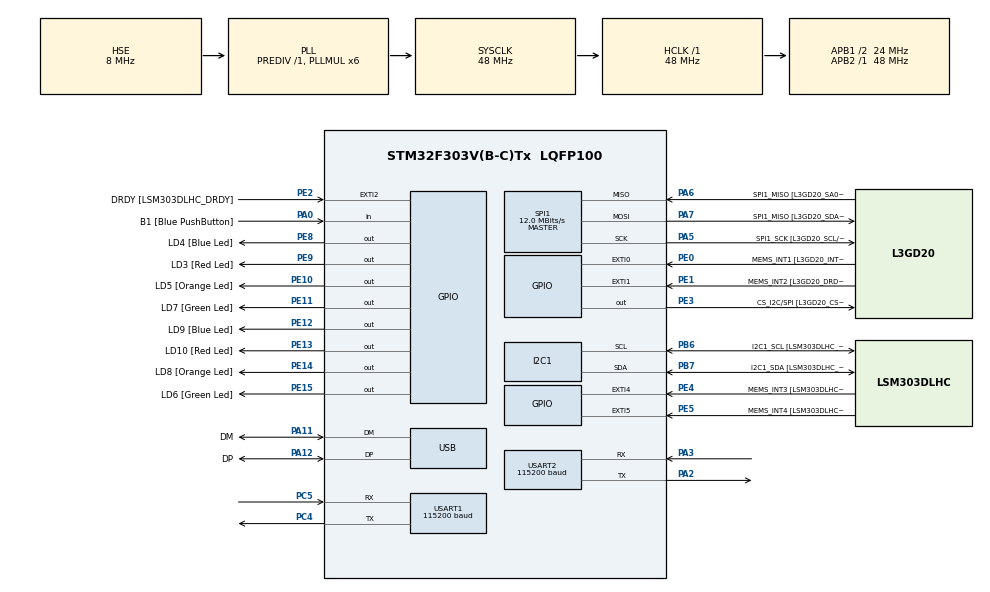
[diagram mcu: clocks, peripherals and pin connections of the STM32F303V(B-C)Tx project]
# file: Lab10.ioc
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I2C1.Timing=0x2000090E
I2C1.Timing-I2C=0x2000090E
Mcu.Family=STM32F3
Mcu.Name=STM32F303V(B-C)Tx
Mcu.Package=LQFP100
NVIC.PriorityGroup=NVIC_PRIORITYGROUP_0
PA0.GPIO_Label=B1 [Blue PushButton]
PA0.Signal=GPIO_Input
PA11.GPIO_Label=DM
PA11.Mode=Device
PA11.Signal=USB_DM
PA12.GPIO_Label=DP
PA12.Mode=Device
PA12.Signal=USB_DP
PA13.GPIO_Label=SWDIO
PA13.Mode=Serial_Wire
PA13.Signal=SYS_JTMS-SWDIO
PA14.GPIO_Label=SWCLK
PA14.Mode=Serial_Wire
PA14.Signal=SYS_JTCK-SWCLK
PA2.Mode=Asynchronous
PA2.Signal=USART2_TX
PA3.Mode=Asynchronous
PA3.Signal=USART2_RX
PA5.GPIO_Label=SPI1_SCK [L3GD20_SCL/SPC]
PA5.Mode=Full_Duplex_Master
PA5.Signal=SPI1_SCK
PA6.GPIO_Label=SPI1_MISO [L3GD20_SA0/SDO]
PA6.Mode=Full_Duplex_Master
PA6.Signal=SPI1_MISO
PA7.GPIO_Label=SPI1_MISO [L3GD20_SDA/SDI/SDO]
PA7.Mode=Full_Duplex_Master
PA7.Signal=SPI1_MOSI
PB3.GPIO_Label=SWO
PB3.Signal=SYS_JTDO-TRACESWO
PB6.GPIO_Label=I2C1_SCL [LSM303DLHC_SCL]
PB6.GPIO_Pu=GPIO_PULLUP
PB6.Mode=I2C
PB6.Signal=I2C1_SCL
PB7.GPIO_Label=I2C1_SDA [LSM303DLHC_SDA]
PB7.GPIO_Pu=GPIO_PULLUP
PB7.Mode=I2C
PB7.Signal=I2C1_SDA
PC14-OSC32_IN.GPIO_Label=OSC32_IN
PC14-OSC32_IN.Signal=RCC_OSC32_IN
PC15-OSC32_OUT.GPIO_Label=OSC32_OUT
PC15-OSC32_OUT.Signal=RCC_OSC32_OUT
PC4.Mode=Asynchronous
PC4.Signal=USART1_TX
PC5.Mode=Asynchronous
PC5.Signal=USART1_RX
PE0.GPIO_Label=MEMS_INT1 [L3GD20_INT1]
PE0.GPIO_ModeDefaultEXTI=GPIO_MODE_EVT_RISING
PE0.Signal=GPXTI0
PE1.GPIO_Label=MEMS_INT2 [L3GD20_DRDY/INT2]
PE1.GPIO_ModeDefaultEXTI=GPIO_MODE_EVT_RISING
PE1.Signal=GPXTI1
PE10.GPIO_Label=LD5 [Orange Led]
PE10.Signal=GPIO_Output
PE11.GPIO_Label=LD7 [Green Led]
PE11.Signal=GPIO_Output
PE12.GPIO_Label=LD9 [Blue Led]
PE12.Signal=GPIO_Output
PE13.GPIO_Label=LD10 [Red Led]
PE13.Signal=GPIO_Output
PE14.GPIO_Label=LD8 [Orange Led]
PE14.Signal=GPIO_Output
PE15.GPIO_Label=LD6 [Green Led]
PE15.Signal=GPIO_Output
PE2.GPIO_Label=DRDY [LSM303DLHC_DRDY]
PE2.GPIO_ModeDefaultEXTI=GPIO_MODE_EVT_RISING
PE2.Signal=GPXTI2
PE3.GPIO_Label=CS_I2C/SPI [L3GD20_CS_I2C/SPI]
PE3.Signal=GPIO_Output
PE4.GPIO_Label=MEMS_INT3 [LSM303DLHC_INT1]
PE4.GPIO_ModeDefaultEXTI=GPIO_MODE_EVT_RISING
PE4.Signal=GPXTI4
PE5.GPIO_Label=MEMS_INT4 [LSM303DLHC_INT2]
PE5.GPIO_ModeDefaultEXTI=GPIO_MODE_EVT_RISING
PE5.Signal=GPXTI5
PE8.GPIO_Label=LD4 [Blue Led]
PE8.Signal=GPIO_Output
PE9.GPIO_Label=LD3 [Red Led]
PE9.Signal=GPIO_Output
PF0-OSC_IN.GPIO_Label=OSC_IN
PF0-OSC_IN.Mode=HSE-External-Clock-Source
PF0-OSC_IN.Signal=RCC_OSC_IN
PF1-OSC_OUT.GPIO_Label=OSC_OUT
PF1-OSC_OUT.Signal=RCC_OSC_OUT
ProjectManager.HeapSize=0x200
ProjectManager.StackSize=0x400
ProjectManager.TargetToolchain=CMake
RCC.AHBFreq_Value=48000000
RCC.APB1CLKDivider=RCC_HCLK_DIV2
RCC.APB1Freq_Value=24000000
RCC.APB1TimFreq_Value=48000000
RCC.APB2Freq_Value=48000000
RCC.APB2TimFreq_Value=48000000
RCC.CortexFreq_Value=48000000
RCC.HCLKFreq_Value=48000000
RCC.HSE_VALUE=8000000
RCC.HSI_VALUE=8000000
RCC.LSE_VALUE=32768
RCC.PLLMUL=RCC_PLL_MUL6
RCC.SYSCLKFreq_VALUE=48000000
RCC.SYSCLKSourceVirtual=RCC_SYSCLKSOURCE_PLLCLK
RCC.USBFreq_Value=48000000
SPI1.BaudRatePrescaler=SPI_BAUDRATEPRESCALER_4
SPI1.BaudRatePrescaler-Full_Duplex_Master=SPI_BAUDRATEPRESCALER_2
SPI1.CalculateBaudRate=12.0 MBits/s
SPI1.CalculateBaudRate-Full_Duplex_Master=24.0 MBits/s
SPI1.Direction=SPI_DIRECTION_2LINES
SPI1.Mode=SPI_MODE_MASTER
SPI1.Mode-Full_Duplex_Master=SPI_MODE_MASTER
SPI1.VirtualType=VM_MASTER
USART1.BaudRate=115200
USART1.VirtualMode-Asynchronous=VM_ASYNC
USART2.BaudRate=115200
USART2.VirtualMode-Asynchronous=VM_ASYNC
board=STM32F3DISCOVERY

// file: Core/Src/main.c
/* USER CODE BEGIN Header */
/**
  ******************************************************************************
  * @file           : main.c
  * @brief          : Main program body
  ******************************************************************************
  * @attention
  *
  * Copyright (c) 2025 STMicroelectronics.
  * All rights reserved.
  *
  * This software is licensed under terms that can be found in the LICENSE file
  * in the root directory of this software component.
  * If no LICENSE file comes with this software, it is provided AS-IS.
  *
  ******************************************************************************
  */
/* USER CODE END Header */
#include "main.h"
#include "stdlib.h"

/* USER CODE BEGIN Includes */
#include "heap_driver.h"
#include <string.h>
#include <stdio.h>
/* USER CODE END Includes */

I2C_HandleTypeDef hi2c1;

SPI_HandleTypeDef hspi1;

UART_HandleTypeDef huart1;
UART_HandleTypeDef huart2;

PCD_HandleTypeDef hpcd_USB_FS;

void SystemClock_Config(void);
static void MX_GPIO_Init(void);
static void MX_I2C1_Init(void);
static void MX_SPI1_Init(void);
static void MX_USART2_UART_Init(void);
static void MX_USB_PCD_Init(void);
static void MX_USART1_UART_Init(void);

/* USER CODE BEGIN 0 */
void print_uart(const char* msg) {
  HAL_UART_Transmit(&huart2, (uint8_t*)msg, strlen(msg), HAL_MAX_DELAY);
}
/* USER CODE END 0 */

int main(void)
{

  /* MCU Configuration--------------------------------------------------------*/

  /* Reset of all peripherals, Initializes the Flash interface and the Systick. */
  HAL_Init();

  /* Configure the system clock */
  SystemClock_Config();

  /* Initialize all configured peripherals */
  MX_GPIO_Init();
  MX_I2C1_Init();
  MX_SPI1_Init();
  MX_USART2_UART_Init();
  MX_USB_PCD_Init();
  MX_USART1_UART_Init();
  /* USER CODE BEGIN 2 */

  // Task 1
  int n = 10;
  char uart_buf[100];

  int *malloc_array = (int *)malloc(n * sizeof(int));

  if (malloc_array != NULL) {
      HAL_UART_Transmit(&huart2, (uint8_t*)"\r\nmalloc allocation successful.\r\n", 34, 100);

      for (int i = 0; i < n; i++) {
          malloc_array[i] = i * 2;
      }
  } else {
      HAL_UART_Transmit(&huart2, (uint8_t*)"malloc allocation failed!\r\n", 27, 100);
  }

  int *calloc_array = (int *)calloc(n, sizeof(int));

  if (calloc_array != NULL) {
      HAL_UART_Transmit(&huart2, (uint8_t*)"calloc allocation successful.\r\n", 31, 100);

      HAL_UART_Transmit(&huart2, (uint8_t*)"Verifying calloc is zero-initialized:\r\n", 39, 100);
      for (int i = 0; i < n; i++) {
          sprintf(uart_buf, "calloc[%d] = %d\r\n", i, calloc_array[i]);
          HAL_UART_Transmit(&huart2, (uint8_t*)uart_buf, strlen(uart_buf), 100);
      }

      for (int i = 0; i < n; i++) {
          calloc_array[i] = i + 1;
      }
  } else {
      HAL_UART_Transmit(&huart2, (uint8_t*)"calloc allocation failed!\r\n", 27, 100);
  }

  HAL_UART_Transmit(&huart2, (uint8_t*)"\r\nFinal Array Contents:\r\n", 25, 100);
  for (int i = 0; i < n; i++) {
      sprintf(uart_buf, "Index %d: malloc=%d, calloc=%d\r\n", i, malloc_array[i], calloc_array[i]);
      HAL_UART_Transmit(&huart2, (uint8_t*)uart_buf, strlen(uart_buf), 100);
  }

  free(malloc_array);
  malloc_array = NULL;

  free(calloc_array);
  calloc_array = NULL;

  HAL_UART_Transmit(&huart2, (uint8_t*)"\r\nMemory successfully freed and pointers cleared.\r\n", 51, 100);

  // Task 2
  // Print a message over UART to indicate the start of the test.
  print_uart("=== Custom Heap Driver (Direct SRAM) ===\r\n");

  // Initialize the custom heap allocator.
  // This function sets up internal memory structures (e.g., the block_map array)
  // so that all heap memory is marked as free.
  // It MUST be called before using heap_alloc or heap_free.
  heap_init();

  // Allocate 32 bytes from the heap.
  // heap_alloc returns a pointer to a memory region in SRAM that is at least 32 bytes long.
  // We cast the void* return type to char* so we can use string functions like strcpy.
  char* block1 = (char*)heap_alloc(32);

  // Allocate 48 bytes from the heap.
  char* block2 = (char*)heap_alloc(48);

  // Check if both allocations were successful (i.e., the returned pointers are not NULL).
  if (block1 && block2) {
      // If successful, store strings into the allocated memory regions.
      // Since the memory comes from our own heap allocator, we assume it behaves like malloc.
      strcpy(block1, "Data in Block 1");    // Copy string into the memory allocated in block1
      strcpy(block2, "Text from Block 2");  // Copy string into the memory allocated in block2

      // Print the contents of both blocks over UART.
      // This confirms that memory was correctly allocated and can be accessed.
      print_uart(block1);
      print_uart("\r\n");
      print_uart(block2);
      print_uart("\r\n");

  } else {
      // If either allocation failed (due to insufficient memory or a bug), print an error message.
      print_uart("Allocation failed.\r\n");
  }

  // Free the memory blocks that were previously allocated.
  // This makes them available again for future calls to heap_alloc.
  // It's important to always free memory when you're done using it to avoid memory leaks.
  heap_free(block1);
  heap_free(block2);

  // Print a confirmation that memory has been freed.
  print_uart("Blocks freed.\r\n");

  /* USER CODE END 2 */

  /* Infinite loop */
  while (1)
  {

  }
}

void SystemClock_Config(void)
{
  RCC_OscInitTypeDef RCC_OscInitStruct = {0};
  RCC_ClkInitTypeDef RCC_ClkInitStruct = {0};
  RCC_PeriphCLKInitTypeDef PeriphClkInit = {0};

  /** Initializes the RCC Oscillators according to the specified parameters
  * in the RCC_OscInitTypeDef structure.
  */
  RCC_OscInitStruct.OscillatorType = RCC_OSCILLATORTYPE_HSI|RCC_OSCILLATORTYPE_HSE;
  RCC_OscInitStruct.HSEState = RCC_HSE_BYPASS;
  RCC_OscInitStruct.HSEPredivValue = RCC_HSE_PREDIV_DIV1;
  RCC_OscInitStruct.HSIState = RCC_HSI_ON;
  RCC_OscInitStruct.HSICalibrationValue = RCC_HSICALIBRATION_DEFAULT;
  RCC_OscInitStruct.PLL.PLLState = RCC_PLL_ON;
  RCC_OscInitStruct.PLL.PLLSource = RCC_PLLSOURCE_HSE;
  RCC_OscInitStruct.PLL.PLLMUL = RCC_PLL_MUL6;
  if (HAL_RCC_OscConfig(&RCC_OscInitStruct) != HAL_OK)
  {
    Error_Handler();
  }

  /** Initializes the CPU, AHB and APB buses clocks
  */
  RCC_ClkInitStruct.ClockType = RCC_CLOCKTYPE_HCLK|RCC_CLOCKTYPE_SYSCLK
                              |RCC_CLOCKTYPE_PCLK1|RCC_CLOCKTYPE_PCLK2;
  RCC_ClkInitStruct.SYSCLKSource = RCC_SYSCLKSOURCE_PLLCLK;
  RCC_ClkInitStruct.AHBCLKDivider = RCC_SYSCLK_DIV1;
  RCC_ClkInitStruct.APB1CLKDivider = RCC_HCLK_DIV2;
  RCC_ClkInitStruct.APB2CLKDivider = RCC_HCLK_DIV1;

  if (HAL_RCC_ClockConfig(&RCC_ClkInitStruct, FLASH_LATENCY_1) != HAL_OK)
  {
    Error_Handler();
  }
  PeriphClkInit.PeriphClockSelection = RCC_PERIPHCLK_USB|RCC_PERIPHCLK_USART1
                              |RCC_PERIPHCLK_USART2|RCC_PERIPHCLK_I2C1;
  PeriphClkInit.Usart1ClockSelection = RCC_USART1CLKSOURCE_PCLK2;
  PeriphClkInit.Usart2ClockSelection = RCC_USART2CLKSOURCE_PCLK1;
  PeriphClkInit.I2c1ClockSelection = RCC_I2C1CLKSOURCE_HSI;
  PeriphClkInit.USBClockSelection = RCC_USBCLKSOURCE_PLL;
  if (HAL_RCCEx_PeriphCLKConfig(&PeriphClkInit) != HAL_OK)
  {
    Error_Handler();
  }
}

static void MX_I2C1_Init(void)
{

  hi2c1.Instance = I2C1;
  hi2c1.Init.Timing = 0x2000090E;
  hi2c1.Init.OwnAddress1 = 0;
  hi2c1.Init.AddressingMode = I2C_ADDRESSINGMODE_7BIT;
  hi2c1.Init.DualAddressMode = I2C_DUALADDRESS_DISABLE;
  hi2c1.Init.OwnAddress2 = 0;
  hi2c1.Init.OwnAddress2Masks = I2C_OA2_NOMASK;
  hi2c1.Init.GeneralCallMode = I2C_GENERALCALL_DISABLE;
  hi2c1.Init.NoStretchMode = I2C_NOSTRETCH_DISABLE;
  if (HAL_I2C_Init(&hi2c1) != HAL_OK)
  {
    Error_Handler();
  }

  /** Configure Analogue filter
  */
  if (HAL_I2CEx_ConfigAnalogFilter(&hi2c1, I2C_ANALOGFILTER_ENABLE) != HAL_OK)
  {
    Error_Handler();
  }

  /** Configure Digital filter
  */
  if (HAL_I2CEx_ConfigDigitalFilter(&hi2c1, 0) != HAL_OK)
  {
    Error_Handler();
  }

}

static void MX_SPI1_Init(void)
{

  /* SPI1 parameter configuration*/
  hspi1.Instance = SPI1;
  hspi1.Init.Mode = SPI_MODE_MASTER;
  hspi1.Init.Direction = SPI_DIRECTION_2LINES;
  hspi1.Init.DataSize = SPI_DATASIZE_4BIT;
  hspi1.Init.CLKPolarity = SPI_POLARITY_LOW;
  hspi1.Init.CLKPhase = SPI_PHASE_1EDGE;
  hspi1.Init.NSS = SPI_NSS_SOFT;
  hspi1.Init.BaudRatePrescaler = SPI_BAUDRATEPRESCALER_4;
  hspi1.Init.FirstBit = SPI_FIRSTBIT_MSB;
  hspi1.Init.TIMode = SPI_TIMODE_DISABLE;
  hspi1.Init.CRCCalculation = SPI_CRCCALCULATION_DISABLE;
  hspi1.Init.CRCPolynomial = 7;
  hspi1.Init.CRCLength = SPI_CRC_LENGTH_DATASIZE;
  hspi1.Init.NSSPMode = SPI_NSS_PULSE_ENABLE;
  if (HAL_SPI_Init(&hspi1) != HAL_OK)
  {
    Error_Handler();
  }

}

static void MX_USART1_UART_Init(void)
{

  huart1.Instance = USART1;
  huart1.Init.BaudRate = 115200;
  huart1.Init.WordLength = UART_WORDLENGTH_8B;
  huart1.Init.StopBits = UART_STOPBITS_1;
  huart1.Init.Parity = UART_PARITY_NONE;
  huart1.Init.Mode = UART_MODE_TX_RX;
  huart1.Init.HwFlowCtl = UART_HWCONTROL_NONE;
  huart1.Init.OverSampling = UART_OVERSAMPLING_16;
  huart1.Init.OneBitSampling = UART_ONE_BIT_SAMPLE_DISABLE;
  huart1.AdvancedInit.AdvFeatureInit = UART_ADVFEATURE_NO_INIT;
  if (HAL_UART_Init(&huart1) != HAL_OK)
  {
    Error_Handler();
  }

}

static void MX_USART2_UART_Init(void)
{

  huart2.Instance = USART2;
  huart2.Init.BaudRate = 115200;
  huart2.Init.WordLength = UART_WORDLENGTH_8B;
  huart2.Init.StopBits = UART_STOPBITS_1;
  huart2.Init.Parity = UART_PARITY_NONE;
  huart2.Init.Mode = UART_MODE_TX_RX;
  huart2.Init.HwFlowCtl = UART_HWCONTROL_NONE;
  huart2.Init.OverSampling = UART_OVERSAMPLING_16;
  huart2.Init.OneBitSampling = UART_ONE_BIT_SAMPLE_DISABLE;
  huart2.AdvancedInit.AdvFeatureInit = UART_ADVFEATURE_NO_INIT;
  if (HAL_UART_Init(&huart2) != HAL_OK)
  {
    Error_Handler();
  }

}

static void MX_USB_PCD_Init(void)
{

  hpcd_USB_FS.Instance = USB;
  hpcd_USB_FS.Init.dev_endpoints = 8;
  hpcd_USB_FS.Init.speed = PCD_SPEED_FULL;
  hpcd_USB_FS.Init.phy_itface = PCD_PHY_EMBEDDED;
  hpcd_USB_FS.Init.low_power_enable = DISABLE;
  hpcd_USB_FS.Init.battery_charging_enable = DISABLE;
  if (HAL_PCD_Init(&hpcd_USB_FS) != HAL_OK)
  {
    Error_Handler();
  }

}

static void MX_GPIO_Init(void)
{
  GPIO_InitTypeDef GPIO_InitStruct = {0};

  /* GPIO Ports Clock Enable */
  __HAL_RCC_GPIOE_CLK_ENABLE();
  __HAL_RCC_GPIOC_CLK_ENABLE();
  __HAL_RCC_GPIOF_CLK_ENABLE();
  __HAL_RCC_GPIOA_CLK_ENABLE();
  __HAL_RCC_GPIOB_CLK_ENABLE();

  /*Configure GPIO pin Output Level */
  HAL_GPIO_WritePin(GPIOE, CS_I2C_SPI_Pin|LD4_Pin|LD3_Pin|LD5_Pin
                          |LD7_Pin|LD9_Pin|LD10_Pin|LD8_Pin
                          |LD6_Pin, GPIO_PIN_RESET);

  /*Configure GPIO pins : DRDY_Pin MEMS_INT3_Pin MEMS_INT4_Pin MEMS_INT1_Pin
                           MEMS_INT2_Pin */
  GPIO_InitStruct.Pin = DRDY_Pin|MEMS_INT3_Pin|MEMS_INT4_Pin|MEMS_INT1_Pin
                          |MEMS_INT2_Pin;
  GPIO_InitStruct.Mode = GPIO_MODE_EVT_RISING;
  GPIO_InitStruct.Pull = GPIO_NOPULL;
  HAL_GPIO_Init(GPIOE, &GPIO_InitStruct);

  /*Configure GPIO pins : CS_I2C_SPI_Pin LD4_Pin LD3_Pin LD5_Pin
                           LD7_Pin LD9_Pin LD10_Pin LD8_Pin
                           LD6_Pin */
  GPIO_InitStruct.Pin = CS_I2C_SPI_Pin|LD4_Pin|LD3_Pin|LD5_Pin
                          |LD7_Pin|LD9_Pin|LD10_Pin|LD8_Pin
                          |LD6_Pin;
  GPIO_InitStruct.Mode = GPIO_MODE_OUTPUT_PP;
  GPIO_InitStruct.Pull = GPIO_NOPULL;
  GPIO_InitStruct.Speed = GPIO_SPEED_FREQ_LOW;
  HAL_GPIO_Init(GPIOE, &GPIO_InitStruct);

  /*Configure GPIO pin : B1_Pin */
  GPIO_InitStruct.Pin = B1_Pin;
  GPIO_InitStruct.Mode = GPIO_MODE_INPUT;
  GPIO_InitStruct.Pull = GPIO_NOPULL;
  HAL_GPIO_Init(B1_GPIO_Port, &GPIO_InitStruct);

}

void Error_Handler(void)
{
  __disable_irq();
  while (1)
  {
  }
}
